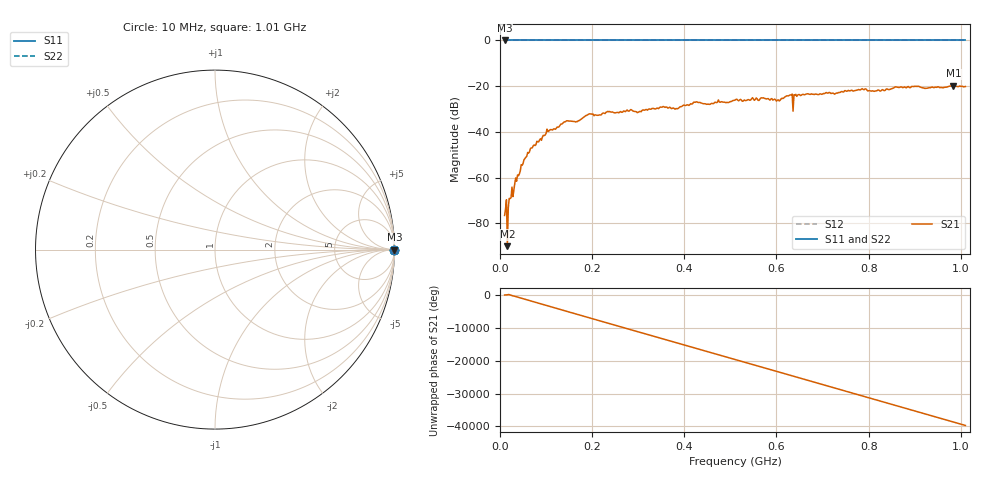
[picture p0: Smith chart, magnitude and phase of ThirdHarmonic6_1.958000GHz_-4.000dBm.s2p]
! 8/16/2025 11:33:58 PM
! C:\ANRITSUVNA\TEMP\TEMP.S2P
! CHANNEL.1
! TR.MEASUREMENT
! RAW.DATA
! RF.CORRECTION.OFF
! AVERAGING.OFF
! IF.BANDWIDTH: 5KHZ
! SWEEPTYPE:  FREQ.SWEEP(Linear)
! Reference Plane Port Info
! PORT:  PORT1  PORT2
! DISTANCE:  0  m  0  m
! TIME:  0  s  0  s
! PHASE.OFFSET:  0  deg.  0  deg.
! LOSS:  0  dB  0  dB
! REF.LOSS:  0  dB  0  dB
! REF.FREQ:  0  Hz  0  Hz
! Power Info
! POWER:  -20  dBm  -20  dBm
! EFF.POWER:  -20  dBm  -20  dBm
! SOURCE.ATTEN:  0  dB  0  dB
! TEST.ATTEN:  0  dB  0  dB
# GHZ S RI R 50.0
! FREQ.GHZ  S11RE  S11IM  S21RE  S21IM  S12RE  S12IM  S22RE  S22IM
!; PortSelection: Port_12
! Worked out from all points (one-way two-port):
!   501 points, 10 MHz to 1.01 GHz, reference 50 ohm
!   highest |S21| = -19.80 dB at 984 MHz (marker M1); lowest = -89.9 dB at 16 MHz (marker M2)
!   lowest |S11| = 0.0 dB at 10 MHz (marker M3)
!   |S11| at or under -10 dB: nowhere
!   |S22| runs from 0.0 to 0.0 dB; largest |S21 - S12| = 1.1
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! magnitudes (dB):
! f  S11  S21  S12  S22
! 10 MHz  0.0  -76.5  0.0  0.0
! 12 MHz  0.0  -73.7  0.0  0.0
! 16 MHz  0.0  -89.9  0.0  0.0
! 20 MHz  0.0  -69.1  0.0  0.0
! 22 MHz  0.0  -69.1  0.0  0.0
! 50 MHz  0.0  -53.8  0.0  0.0
! 70 MHz  0.0  -46.9  0.0  0.0
! 106 MHz  0.0  -39.6  0.0  0.0
! 144 MHz  0.0  -35.1  0.0  0.0
! 178 MHz  0.0  -34.1  0.0  0.0
! 194 MHz  0.0  -32.1  0.0  0.0
! 344 MHz  0.0  -29.8  0.0  0.0
! 382 MHz  0.0  -29.7  0.0  0.0
! 510 MHz  0.0  -26.1  0.0  0.0
! 604 MHz  0.0  -26.0  0.0  0.0
! 630 MHz  0.0  -23.8  0.0  0.0
! 640 MHz  0.0  -23.9  0.0  0.0
! 642 MHz  0.0  -23.5  0.0  0.0
! 678 MHz  0.0  -23.5  0.0  0.0
! 844 MHz  0.0  -21.5  0.0  0.0
! 984 MHz  0.0  -19.8  0.0  0.0
! 1.01 GHz  0.0  -20.1  0.0  0.0
